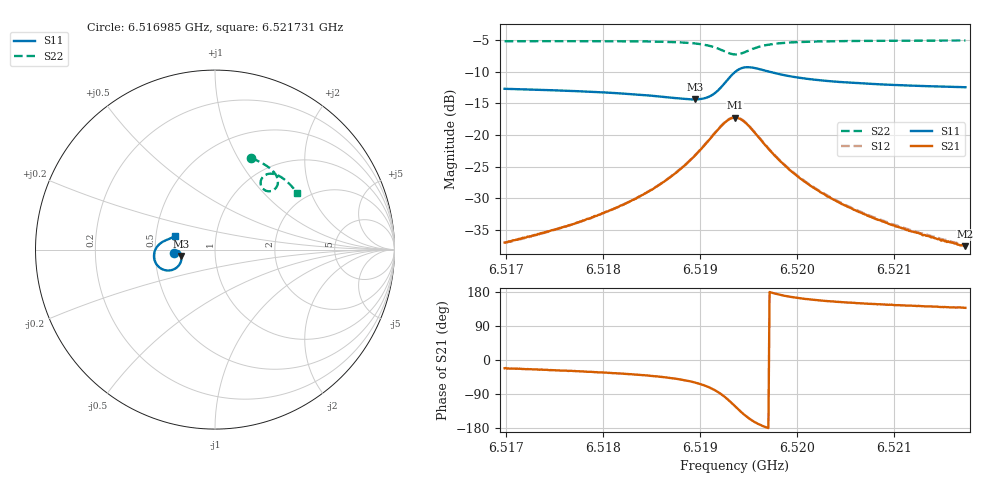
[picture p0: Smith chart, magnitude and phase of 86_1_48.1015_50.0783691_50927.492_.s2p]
#  HZ  S  RI  R  50.00
! Rohde & Schwarz Vector Network Analyzer
! Rohde-Schwarz,ZNB20-2Port,1311601062101988,3.16
! Created: UTC 12/23/2023, 3:43:16 AM
! freq[Hz]  re:S11  im:S11  re:S21  im:S21  re:S12  im:S12  re:S22  im:S22
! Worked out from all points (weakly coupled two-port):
!   401 points, 6.516985 GHz to 6.521731 GHz, reference 50 ohm
!   highest |S21| = -17.25 dB at 6.519358 GHz (marker M1); lowest = -37.5 dB at 6.521731 GHz (marker M2)
!   lowest |S11| = -14.4 dB at 6.518943 GHz (marker M3), VSWR 1.47, Z = 34.1 - j2.56 ohm
!   |S11| at or under -10 dB: start of sweep to 6.519364 GHz; 6.519706 GHz to end of sweep
!   |S22| runs from -7.3 to -5.1 dB; largest |S21 - S12| = 0.0042
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6.516985e9  -0.2306 -0.0176  0.0132 -0.00529  0.0133 -0.00479  0.2025 0.5096
6.5173884e9  -0.2262 -0.0117  0.0152 -0.00737  0.0155 -0.00682  0.2323 0.4972
6.5177799e9  -0.2206 -0.00707  0.0181 -0.0105  0.0184 -0.00996  0.2613 0.4825
6.518219e9  -0.2118 -0.00502  0.023 -0.017  0.0235 -0.0163  0.2942 0.4619
6.5185749e9  -0.2013 -0.00961  0.0291 -0.028  0.0299 -0.0273  0.3219 0.4384
6.5187766e9  -0.1933 -0.0191  0.0333 -0.0405  0.0346 -0.0396  0.3376 0.4192
6.5189427e9  -0.1873 -0.0361  0.035 -0.0588  0.037 -0.0582  0.3481 0.3959
6.5190495e9  -0.1872 -0.0557  0.0318 -0.0777  0.0343 -0.0773  0.3505 0.3747
6.5191326e9  -0.1942 -0.0769  0.0222 -0.0973  0.0252 -0.0972  0.3459 0.3544
6.5192631e9  -0.2368 -0.1128  -0.0212 -0.1254  -0.0177 -0.127  0.313 0.3263
6.5193106e9  -0.2644 -0.1164  -0.0467 -0.126  -0.0435 -0.1284  0.2929 0.3254
6.519358e9  -0.2941 -0.1091  -0.0724 -0.1165  -0.0697 -0.1194  0.2735 0.3335
6.5194055e9  -0.3188 -0.0906  -0.0927 -0.0976  -0.0905 -0.101  0.2596 0.3494
6.5194648e9  -0.3366 -0.0596  -0.1047 -0.0687  -0.1036 -0.0721  0.254 0.3736
6.5195597e9  -0.3372 -0.014  -0.1006 -0.0295  -0.1003 -0.0327  0.2658 0.4036
6.5196665e9  -0.3216 0.0174  -0.0835 -0.0052  -0.0841 -0.00769  0.2886 0.4192
6.5198919e9  -0.2905 0.0441  -0.0546 0.0112  -0.0554 0.00975  0.3282 0.4214
6.520153e9  -0.2689 0.0542  -0.0365 0.0138  -0.0374 0.0129  0.3586 0.4096
6.5204852e9  -0.253 0.0606  -0.0247 0.013  -0.0255 0.0125  0.3865 0.3909
6.5209479e9  -0.2396 0.0675  -0.0164 0.0111  -0.0171 0.011  0.4169 0.3638
6.5214581e9  -0.2293 0.0746  -0.0116 0.00969  -0.0121 0.00949  0.4445 0.3328
6.521731e9  -0.2248 0.0783  -0.00982 0.00897  -0.0101 0.00881  0.4578 0.3157
